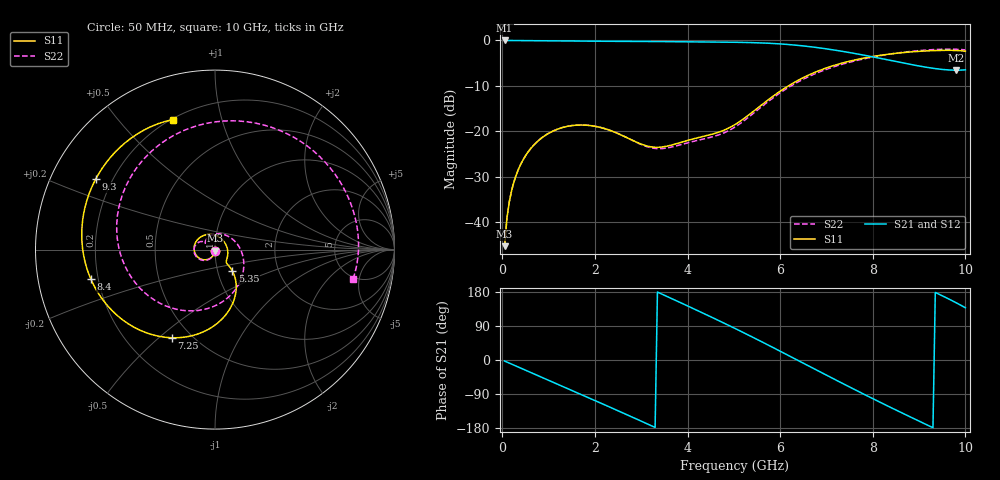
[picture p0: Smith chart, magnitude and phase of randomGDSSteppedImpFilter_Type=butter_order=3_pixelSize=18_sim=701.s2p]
! freq	dB(S11)	phase(S11)	dB(S12)	phase(S12)
!  dB(S21)	phase(S21)	dB(S22)	phase(S22)
!S-par simulation data
#  GHz  S  DB  R 50
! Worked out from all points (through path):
!   200 points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, 50 MHz to 10 GHz, reference 50 ohm
!   highest |S21| = -0.01 dB at 50 MHz (marker M1); lowest = -6.6 dB at 9.8 GHz (marker M2)
!   group delay of S21, straight-line fit = 163 ps
!   lowest |S11| = -45.3 dB at 50 MHz (marker M3), VSWR 1.01, Z = 50 - j0.541 ohm
!   |S11| at or under -10 dB: start of sweep to 6.181 GHz
!   |S22| runs from -45.2 to -1.9 dB; largest |S21 - S12| = 0
!   S11 on the Smith chart (normalised r, x): 50 MHz: 1.00, -0.01; 5.35 GHz: 1.18, -0.29; 7.25 GHz: 0.39, -0.55; 8.4 GHz: 0.17, -0.11; 9.3 GHz: 0.14, +0.27; 10 GHz: 0.20, +0.71
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0.05  -45.33 -91.1  -0.01 -2.8  -0.01 -2.8  -45.17 -92.5
0.1  -39.18 -94.4  -0.02 -5.4  -0.02 -5.4  -39.14 -95.0
0.2  -33.13 -100.7  -0.02 -10.8  -0.02 -10.8  -33.13 -100.2
0.5  -25.44 -118.0  -0.05 -26.9  -0.05 -26.9  -25.41 -116.1
1.15  -19.73 -155.0  -0.12 -61.6  -0.12 -61.6  -19.70 -149.8
1.75  -18.65 169.4  -0.17 -93.6  -0.17 -93.6  -18.62 -178.6
2.65  -21.23 104.2  -0.20 -142.1  -0.20 -142.1  -21.22 148.7
3.4  -23.53 23.6  -0.25 176.5  -0.25 176.5  -23.85 145.9
3.85  -22.48 -18.2  -0.29 151.2  -0.29 151.2  -22.98 138.5
4.3  -21.25 -41.9  -0.33 125.7  -0.33 125.7  -21.82 111.6
5.05  -18.38 -49.7  -0.41 81.8  -0.41 81.8  -18.91 31.3
5.35  -16.20 -51.0  -0.47 63.7  -0.47 63.7  -16.65 -3.7
6.05  -10.85 -67.3  -0.80 20.1  -0.80 20.1  -11.20 -74.2
6.7  -7.24 -92.6  -1.45 -21.1  -1.45 -21.1  -7.57 -131.8
7.25  -5.24 -116.1  -2.25 -55.7  -2.25 -55.7  -5.52 -178.4
7.75  -4.01 -137.8  -3.14 -86.7  -3.14 -86.7  -4.19 140.6
8.35  -3.02 -164.5  -4.33 -123.1  -4.33 -123.1  -3.04 93.9
8.4  -2.96 -166.8  -4.44 -126.0  -4.44 -126.0  -2.96 90.2
8.8  -2.55 174.5  -5.25 -149.6  -5.25 -149.6  -2.44 61.6
9.3  -2.25 149.4  -6.14 -178.7  -6.14 -178.7  -2.02 29.0
9.8  -2.22 120.9  -6.56 151.2  -6.56 151.2  -1.95 -0.6
10  -2.37 108.0  -6.48 137.8  -6.48 137.8  -2.09 -11.9
